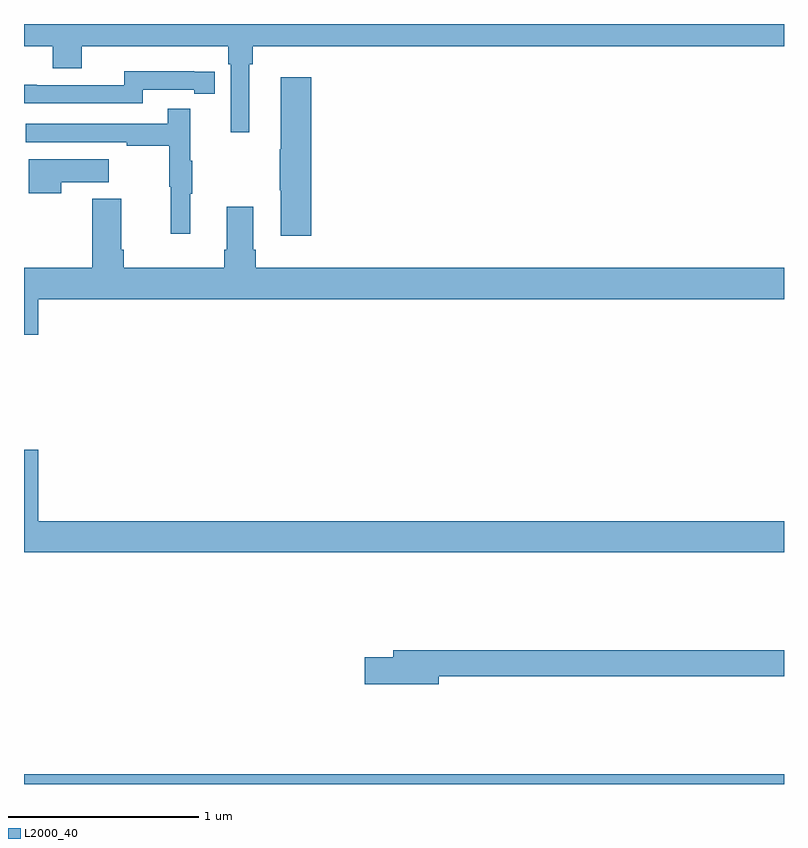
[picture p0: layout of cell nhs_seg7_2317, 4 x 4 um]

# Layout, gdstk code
import gdstk
lib = gdstk.Library(unit=1e-6, precision=1e-09)
def R(c, l, rs):  # rectangles x0, y0, x1, y1
    for r in rs: c.add(gdstk.rectangle(r[:2], r[2:], *l))
def P(c, l, *ps):  # polygons
    for p in ps: c.add(gdstk.Polygon(p, *l))
L2000_40 = (2000, 40)

nhs_seg7_2317 = lib.new_cell('nhs_seg7_2317')
R(nhs_seg7_2317, L2000_40, [(261,1062,265,1062.052)])
P(nhs_seg7_2317, L2000_40, [(262.186,1065.788),(262.205,1065.788),(262.205,1065.884),(265,1065.884),(265,1066),(261,1066),(261,1065.884),(261.152,1065.884),(261.152,1065.767),(261.304,1065.767),(261.304,1065.884),(262.076,1065.884),(262.076,1065.788),(262.089,1065.788),(262.089,1065.429),(262.186,1065.429)],
  [(261.624,1065.654),(261.896,1065.654),(261.896,1065.634),(262.004,1065.634),(262.004,1065.75),(261.896,1065.75),(261.896,1065.751),(261.528,1065.751),(261.528,1065.678),(261.068,1065.678),(261.068,1065.68),(261,1065.68),(261,1065.582),(261.624,1065.582)],
  [(262.511,1065.721),(262.352,1065.721),(262.352,1065.341),(262.345,1065.341),(262.345,1065.124),(262.352,1065.124),(262.352,1064.886),(262.511,1064.886)],
  [(261.875,1065.107),(261.886,1065.107),(261.886,1065.281),(261.875,1065.281),(261.875,1065.553),(261.757,1065.553),(261.757,1065.474),(261.009,1065.474),(261.009,1065.378),(261.541,1065.378),(261.541,1065.358),(261.765,1065.358),(261.765,1065.144),(261.772,1065.144),(261.772,1064.895),(261.875,1064.895)],
  [(261.197,1065.167),(261.445,1065.167),(261.445,1065.289),(261.026,1065.289),(261.026,1065.108),(261.197,1065.108)],
  [(261.076,1064.552),(265,1064.552),(265,1064.716),(262.22,1064.716),(262.22,1064.812),(262.207,1064.812),(262.207,1065.037),(262.067,1065.037),(262.067,1064.812),(262.055,1064.812),(262.055,1064.716),(261.524,1064.716),(261.524,1064.812),(261.511,1064.812),(261.511,1065.079),(261.359,1065.079),(261.359,1064.716),(261,1064.716),(261,1064.364),(261.076,1064.364)],
  [(265,1063.384),(261.076,1063.384),(261.076,1063.759),(261,1063.759),(261,1063.22),(265,1063.22)],
  [(263.182,1062.568),(265,1062.568),(265,1062.704),(262.943,1062.704),(262.943,1062.668),(262.794,1062.668),(262.794,1062.526),(263.182,1062.526)])

lib.write_gds('nhs_seg7_2317.gds')
